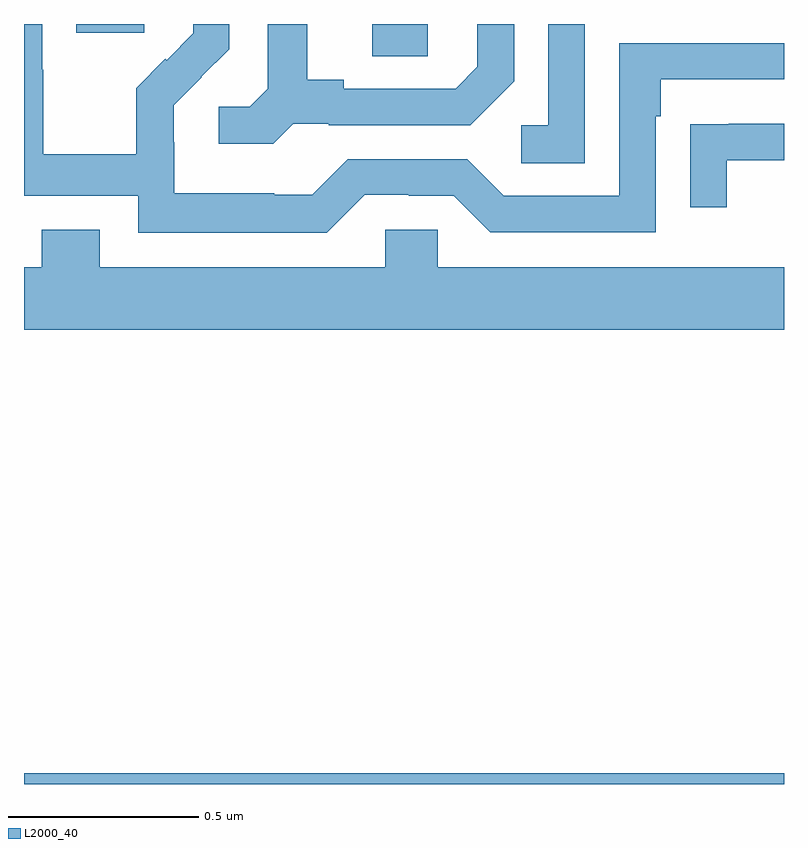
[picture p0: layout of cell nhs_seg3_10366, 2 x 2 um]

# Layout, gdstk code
import gdstk
lib = gdstk.Library(unit=1e-6, precision=1e-09)
def R(c, l, rs):  # rectangles x0, y0, x1, y1
    for r in rs: c.add(gdstk.rectangle(r[:2], r[2:], *l))
def P(c, l, *ps):  # polygons
    for p in ps: c.add(gdstk.Polygon(p, *l))
L2000_40 = (2000, 40)

nhs_seg3_10366 = lib.new_cell('nhs_seg3_10366')
R(nhs_seg3_10366, L2000_40, [(240,686.4,242,686.428), (240.917,688.315,241.062,688.4), (240.137,688.377,240.316,688.4)])
P(nhs_seg3_10366, L2000_40, [(240.897,687.951),(241.013,687.951),(241.013,687.948),(241.131,687.948),(241.227,687.852),(241.662,687.852),(241.662,688.157),(241.675,688.157),(241.675,688.254),(242,688.254),(242,688.35),(241.566,688.35),(241.566,687.948),(241.263,687.948),(241.167,688.044),(240.852,688.044),(240.759,687.951),(240.659,687.951),(240.659,687.955),(240.396,687.955),(240.396,688.089),(240.394,688.089),(240.394,688.186),(240.468,688.26),(240.467,688.261),(240.54,688.334),(240.54,688.4),(240.446,688.4),(240.446,688.376),(240.375,688.305),(240.372,688.308),(240.295,688.231),(240.295,688.057),(240.051,688.057),(240.051,688.28),(240.048,688.28),(240.048,688.4),(240,688.4),(240,687.948),(240.3,687.948),(240.3,687.851),(240.797,687.851)],
  [(240.708,688.137),(240.802,688.137),(240.802,688.134),(241.174,688.134),(241.29,688.25),(241.29,688.4),(241.193,688.4),(241.193,688.287),(241.136,688.23),(240.841,688.23),(240.841,688.253),(240.745,688.253),(240.745,688.4),(240.641,688.4),(240.641,688.229),(240.594,688.182),(240.513,688.182),(240.513,688.085),(240.656,688.085)],
  [(241.476,688.4),(241.38,688.4),(241.38,688.134),(241.308,688.134),(241.308,688.033),(241.476,688.033)],
  [(241.849,688.041),(242,688.041),(242,688.137),(241.855,688.137),(241.855,688.136),(241.753,688.136),(241.753,687.918),(241.849,687.918)],
  [(242,687.76),(241.089,687.76),(241.089,687.858),(240.951,687.858),(240.951,687.76),(240.199,687.76),(240.199,687.859),(240.047,687.859),(240.047,687.76),(240,687.76),(240,687.596),(242,687.596)])

lib.write_gds('nhs_seg3_10366.gds')
